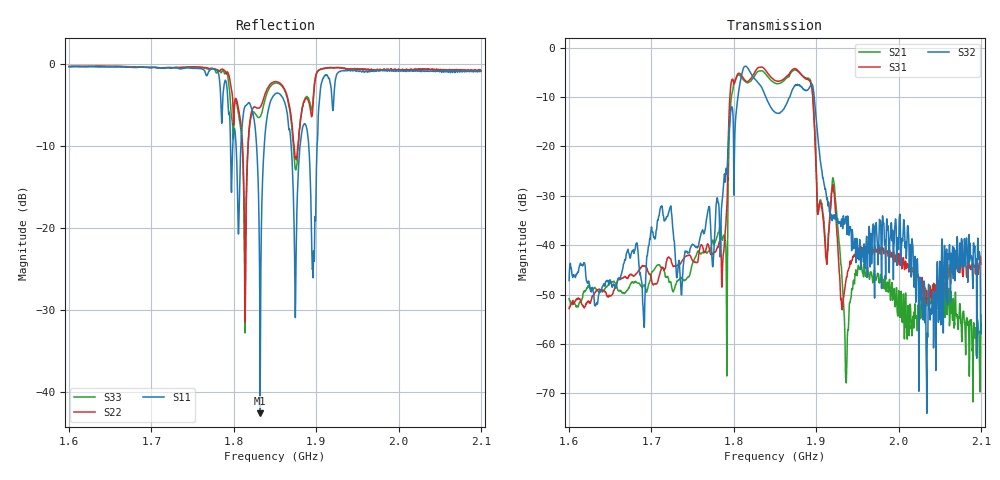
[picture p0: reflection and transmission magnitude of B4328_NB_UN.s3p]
! Matrix data file written by TouchstoneData, EPCOS AG
! FILENAME: "ansys_B4328_NB.s3p"
! COMMENT: "(B4328_NB.s3p) Epcos AG 7/1/2013 1:54:30 PM"
! INFO: nport=3, nfreq=1601
! DATE: "Mon Jul  8 13:10:38 2013"
! USER: "Daniel Harbusch"
! port | pin | signal
!  1  |  1  |  Input
!  2  |  3  |  Output balanced
!  3  |  4  |  Output balanced
# MHZ S MA R 50
! freq  magS11 angS11  magS12 angS12  magS13 angS13  ...
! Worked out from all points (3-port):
!   1601 points, 1.6 GHz to 2.1 GHz, reference 50 ohm
!   strongest paths, dB at 1.6 GHz, 1.725 GHz, 1.85 GHz, 1.975 GHz, 2.1 GHz:
!     S32: -47.1, -34.5, -13.1, -44.0, -55.9
!     S31: -52.8, -43.8, -6.6, -40.4, -43.8
!     S21: -50.8, -48.8, -7.2, -45.9, -54.1
!   lowest |S11| = -42.6 dB at 1.832 GHz (marker M1), VSWR 1.01, Z = 49.4 + j0.368 ohm
!   |S11| at or under -10 dB: 1.828 GHz to 1.837 GHz (9.267 MHz wide, 0.506 % of centre); 1.87 GHz to 1.88 GHz (10.69 MHz wide, 0.57 % of centre); 1.891 GHz to 1.901 GHz (10.15 MHz wide, 0.535 % of centre)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
1600  0.9658 -96.4  0.0029 177.1  0.002294 -171.5
      0.002881 176.8  0.9695 -62.0  0.004379 -63.8
      0.00229 -171.6  0.004396 -63.9  0.9685 -62.7
1790  0.7971 -162.4  0.01058 126.8  0.01492 135.8
      0.01059 126.9  0.9004 -103.7  0.0488 -54.5
      0.01493 136.0  0.04888 -54.4  0.891 -108.3
1798.75  0.322 -143.9  0.3691 171.2  0.4789 -19.8
         0.3689 171.3  0.5899 -127.0  0.2249 177.4
         0.4792 -19.7  0.2253 177.4  0.4044 -118.1
1831.875  0.007402 149.7  0.581 -86.9  0.632 94.6
          0.5803 -86.9  0.5453 -53.7  0.4186 -42.9
          0.6323 94.7  0.4189 -42.9  0.4768 -51.4
1850  0.6574 -93.5  0.4371 -165.9  0.4657 16.0
      0.437 -165.8  0.7819 -72.7  0.2215 -126.6
      0.4658 16.1  0.2216 -126.7  0.7651 -68.1
1893.125  0.175 -164.2  0.4667 -40.3  0.4444 140.0
          0.4658 -40.2  0.522 -15.8  0.4114 12.2
          0.4444 140.0  0.4119 12.2  0.5561 -16.2
1911.562  0.8622 -20.7  0.008938 -58.3  0.007706 130.6
          0.008923 -58.2  0.9474 -29.3  0.03604 -97.5
          0.007705 130.5  0.03609 -97.5  0.9476 -30.9
1921.875  0.6747 -24.5  0.0419 -57.3  0.03354 127.0
          0.04188 -57.1  0.9482 -38.0  0.02037 -96.6
          0.03352 127.1  0.02037 -96.6  0.9518 -39.1
1936.875  0.9112 -55.4  0.0004758 116.3  0.00475 -148.7
          0.0004993 117.3  0.9349 -45.6  0.01873 160.3
          0.004791 -148.5  0.01873 160.3  0.9381 -46.3
2100  0.9043 -90.3  0.001983 -136.6  0.006429 166.2
      0.001962 -136.6  0.9172 -61.9  0.001586 162.7
      0.006432 166.4  0.001604 162.3  0.9126 -62.8
